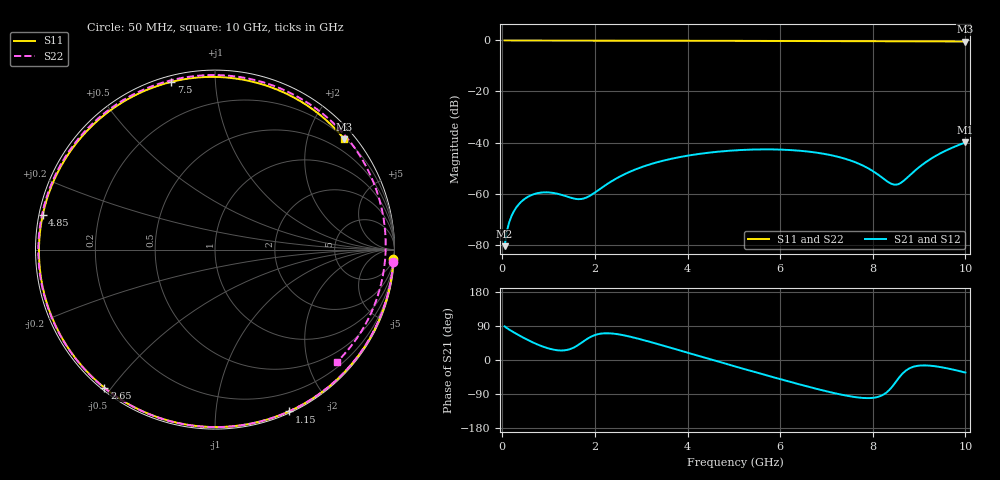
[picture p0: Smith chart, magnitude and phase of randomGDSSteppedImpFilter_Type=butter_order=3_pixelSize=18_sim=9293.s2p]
! freq	dB(S11)	phase(S11)	dB(S12)	phase(S12)
!  dB(S21)	phase(S21)	dB(S22)	phase(S22)
!S-par simulation data
#  GHz  S  DB  R 50
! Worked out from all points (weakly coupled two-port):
!   200 points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, 50 MHz to 10 GHz, reference 50 ohm
!   highest |S21| = -39.98 dB at 10 GHz (marker M1); lowest = -80.6 dB at 50 MHz (marker M2)
!   lowest |S11| = -0.5 dB at 10 GHz (marker M3), VSWR 37.26, Z = 11.1 + j135 ohm
!   |S11| at or under -10 dB: nowhere
!   |S22| runs from -0.7 to 0.0 dB; largest |S21 - S12| = 0
!   S11 on the Smith chart (normalised r, x): 50 MHz: 3, -38; 1.15 GHz: 0.02, -1.56; 2.65 GHz: 0.01, -0.48; 4.85 GHz: 0.01, +0.10; 7.5 GHz: 0.03, +0.77; 10 GHz: 0.22, +2.69
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0.05  -0.04 -3.0  -80.58 88.8  -80.58 88.8  -0.03 -3.9
0.1  -0.04 -6.0  -74.62 84.1  -74.62 84.1  -0.04 -8.0
0.2  -0.04 -12.0  -68.76 76.5  -68.76 76.5  -0.05 -16.1
0.4  -0.04 -23.9  -63.34 62.6  -63.34 62.6  -0.06 -32.0
0.75  -0.06 -44.0  -59.88 41.5  -59.88 41.5  -0.07 -58.1
1.15  -0.08 -65.4  -59.90 26.4  -59.90 26.4  -0.09 -84.5
1.75  -0.10 -93.8  -61.96 48.9  -61.96 48.9  -0.11 -117.1
2.2  -0.11 -112.3  -57.05 70.4  -57.05 70.4  -0.12 -137.3
2.65  -0.12 -128.6  -52.31 64.5  -52.31 64.5  -0.12 -154.7
3.4  -0.14 -152.5  -47.46 40.6  -47.46 40.6  -0.14 179.9
4.1  -0.16 -172.1  -44.86 15.7  -44.86 15.7  -0.16 158.6
4.85  -0.18 168.7  -43.29 -10.8  -43.29 -10.8  -0.18 136.9
5.05  -0.19 163.7  -43.04 -17.8  -43.04 -17.8  -0.19 131.1
5.9  -0.23 143.2  -42.72 -47.0  -42.72 -47.0  -0.22 106.2
6.7  -0.27 124.1  -43.75 -73.4  -43.75 -73.4  -0.25 81.7
7.5  -0.30 104.6  -46.92 -95.6  -46.92 -95.6  -0.29 55.5
7.9  -0.32 94.7  -50.08 -100.6  -50.08 -100.6  -0.32 41.6
8.35  -0.35 83.4  -55.66 -79.9  -55.66 -79.9  -0.36 25.4
8.6  -0.37 77.0  -55.86 -41.6  -55.86 -41.6  -0.38 16.0
9.2  -0.41 61.5  -47.01 -14.6  -47.01 -14.6  -0.47 -7.6
9.6  -0.43 51.0  -42.97 -21.8  -42.97 -21.8  -0.56 -24.5
10  -0.47 40.5  -39.98 -33.2  -39.98 -33.2  -0.69 -42.6
